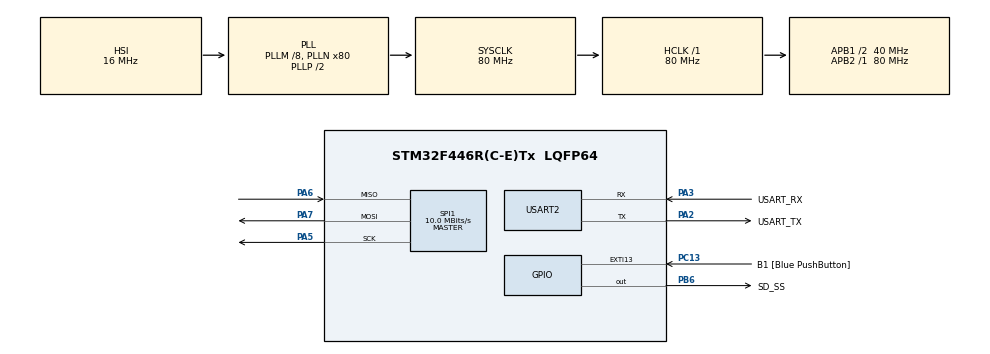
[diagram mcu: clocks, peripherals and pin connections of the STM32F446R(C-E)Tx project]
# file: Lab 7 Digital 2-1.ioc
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FATFS._MAX_SS=4096
FATFS._USE_LFN=1
Mcu.Family=STM32F4
Mcu.Name=STM32F446R(C-E)Tx
Mcu.Package=LQFP64
NVIC.PriorityGroup=NVIC_PRIORITYGROUP_0
NVIC.USART2_IRQn=true\:0\:0\:false\:false\:true\:true\:true\:true
PA13.GPIO_Label=TMS
PA13.Mode=Serial_Wire
PA13.Signal=SYS_JTMS-SWDIO
PA14.GPIO_Label=TCK
PA14.Mode=Serial_Wire
PA14.Signal=SYS_JTCK-SWCLK
PA2.GPIO_Label=USART_TX
PA2.Mode=Asynchronous
PA2.Signal=USART2_TX
PA3.GPIO_Label=USART_RX
PA3.Mode=Asynchronous
PA3.Signal=USART2_RX
PA5.Mode=Full_Duplex_Master
PA5.Signal=SPI1_SCK
PA6.Mode=Full_Duplex_Master
PA6.Signal=SPI1_MISO
PA7.Mode=Full_Duplex_Master
PA7.Signal=SPI1_MOSI
PB3.GPIO_Label=SWO
PB3.Signal=SYS_JTDO-SWO
PB6.GPIO_Label=SD_SS
PB6.GPIO_Speed=GPIO_SPEED_FREQ_MEDIUM
PB6.PinState=GPIO_PIN_SET
PB6.Signal=GPIO_Output
PC13.GPIO_Label=B1 [Blue PushButton]
PC13.GPIO_ModeDefaultEXTI=GPIO_MODE_IT_FALLING
PC13.Signal=GPXTI13
PC14-OSC32_IN.Mode=LSE-External-Oscillator
PC14-OSC32_IN.Signal=RCC_OSC32_IN
PC15-OSC32_OUT.Mode=LSE-External-Oscillator
PC15-OSC32_OUT.Signal=RCC_OSC32_OUT
PH0-OSC_IN.Mode=HSE-External-Oscillator
PH0-OSC_IN.Signal=RCC_OSC_IN
PH1-OSC_OUT.Mode=HSE-External-Oscillator
PH1-OSC_OUT.Signal=RCC_OSC_OUT
ProjectManager.HeapSize=0x200
ProjectManager.StackSize=0x400
ProjectManager.TargetToolchain=STM32CubeIDE
RCC.48MHZClocksFreq_Value=84000000
RCC.AHBFreq_Value=80000000
RCC.APB1CLKDivider=RCC_HCLK_DIV2
RCC.APB1Freq_Value=40000000
RCC.APB1TimFreq_Value=80000000
RCC.APB2Freq_Value=80000000
RCC.APB2TimFreq_Value=80000000
RCC.CortexFreq_Value=80000000
RCC.FLatency-AdvancedSettings=FLASH_LATENCY_2
RCC.HCLKFreq_Value=80000000
RCC.HSE_VALUE=8000000
RCC.HSI_VALUE=16000000
RCC.PLLM=8
RCC.PLLN=80
RCC.SYSCLKFreq_VALUE=80000000
RCC.SYSCLKSource=RCC_SYSCLKSOURCE_PLLCLK
RCC.USBFreq_Value=80000000
RCC.VCOOutputFreq_Value=160000000
SPI1.BaudRatePrescaler=SPI_BAUDRATEPRESCALER_8
SPI1.CalculateBaudRate=10.0 MBits/s
SPI1.Direction=SPI_DIRECTION_2LINES
SPI1.Mode=SPI_MODE_MASTER
SPI1.VirtualType=VM_MASTER
USART2.VirtualMode=VM_ASYNC
VP_FATFS_VS_Generic.Mode=User_defined
board=NUCLEO-F446RE

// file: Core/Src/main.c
/* USER CODE BEGIN Header */
/**
  ******************************************************************************
  * @file           : main.c
  * @brief          : Main program body
  ******************************************************************************
  * @attention
  * Copyright (c) 2025 STMicroelectronics.
  * All rights reserved.
  * This software is licensed under terms that can be found in the LICENSE file
  * in the root directory of this software component.
  * If no LICENSE file comes with this software, it is provided AS-IS.
  ******************************************************************************
  */
/* USER CODE END Header */
#include "main.h"
#include "fatfs.h"

/* USER CODE BEGIN Includes */
#include "fatfs_sd.h"
#include <string.h>
#include <stdint.h>
#include <stdio.h>
/* USER CODE END Includes */

/* USER CODE BEGIN PD */
FATFS fs;
FATFS *pfs;
FIL fil;
FRESULT fres;
DWORD fre_clust;
uint32_t totalSpace, freeSpace;

char     buffer[100];     // lectura de líneas desde archivo
uint8_t  bufferUART[1];   // 1 byte recibido por UART

// ¡OJO con mayúsculas/minúsculas! (tu tercer archivo es "dibujo3b.txt")
const char* images[3] = { "dibujo1B.txt", "dibujo2B.txt", "dibujo3b.txt" };
uint8_t state = 0;
/* USER CODE END PD */

SPI_HandleTypeDef hspi1;
UART_HandleTypeDef huart2;

void SystemClock_Config(void);
static void MX_GPIO_Init(void);
static void MX_USART2_UART_Init(void);
static void MX_SPI1_Init(void);
/* USER CODE BEGIN PFP */
static void menu(void);
static void showIm(const char *image);
static const char* fresult_str(FRESULT r);
/* USER CODE END PFP */

int main(void)
{
  HAL_Init();
  SystemClock_Config();

  MX_GPIO_Init();
  MX_USART2_UART_Init();
  MX_SPI1_Init();
  MX_FATFS_Init();

  HAL_Delay(500);

  // RX por interrupción (1 byte)
  HAL_UART_Receive_IT(&huart2, bufferUART, 1);

  // Menú inicial
  menu();

  // Monta primero en 0:, y si falla intenta 1:
  fres = f_mount(&fs, "0:", 0);
  if (fres == FR_OK) {
    HAL_UART_Transmit(&huart2, (uint8_t*)"Micro SD card is mounted (0:)\r\n", strlen("Micro SD card is mounted (0:)\r\n"), 200);
  } else {
    char msg[64];
    snprintf(msg, sizeof(msg), "Mount 0: error: %s\r\n", fresult_str(fres));
    HAL_UART_Transmit(&huart2, (uint8_t*)msg, strlen(msg), 200);

    fres = f_mount(&fs, "1:", 0);
    if (fres == FR_OK) {
      HAL_UART_Transmit(&huart2, (uint8_t*)"Micro SD card is mounted (1:)\r\n", strlen("Micro SD card is mounted (1:)\r\n"), 200);
    } else {
      snprintf(msg, sizeof(msg), "Mount 1: error: %s\r\n", fresult_str(fres));
      HAL_UART_Transmit(&huart2, (uint8_t*)msg, strlen(msg), 200);
    }
  }

  while (1)
  {
    if (state == 1) {
      state = 0;
      showIm(images[0]);
    } else if (state == 2) {
      state = 0;
      showIm(images[1]);
    } else if (state == 3) {
      state = 0;
      showIm(images[2]);
    } else if (state == 255) {
      state = 0;
      fres = f_mount(NULL, "", 1); // desmonta cualquier unidad activa
      if (fres == FR_OK)
        HAL_UART_Transmit(&huart2, (uint8_t*)"File unmounted\r\n", strlen("File unmounted\r\n"), 200);
      else {
        char msg[64];
        snprintf(msg, sizeof(msg), "Unmount error: %s\r\n", fresult_str(fres));
        HAL_UART_Transmit(&huart2, (uint8_t*)msg, strlen(msg), 200);
      }
    } else {
      state = 0;
    }
    HAL_Delay(1);
  }
}

/* ----------------- Clock ----------------- */
void SystemClock_Config(void)
{
  RCC_OscInitTypeDef RCC_OscInitStruct = {0};
  RCC_ClkInitTypeDef RCC_ClkInitStruct = {0};

  __HAL_RCC_PWR_CLK_ENABLE();
  __HAL_PWR_VOLTAGESCALING_CONFIG(PWR_REGULATOR_VOLTAGE_SCALE3);

  RCC_OscInitStruct.OscillatorType = RCC_OSCILLATORTYPE_HSI;
  RCC_OscInitStruct.HSIState = RCC_HSI_ON;
  RCC_OscInitStruct.HSICalibrationValue = RCC_HSICALIBRATION_DEFAULT;
  RCC_OscInitStruct.PLL.PLLState = RCC_PLL_ON;
  RCC_OscInitStruct.PLL.PLLSource = RCC_PLLSOURCE_HSI;
  RCC_OscInitStruct.PLL.PLLM = 8;
  RCC_OscInitStruct.PLL.PLLN = 80;
  RCC_OscInitStruct.PLL.PLLP = RCC_PLLP_DIV2;
  RCC_OscInitStruct.PLL.PLLQ = 2;
  RCC_OscInitStruct.PLL.PLLR = 2;
  if (HAL_RCC_OscConfig(&RCC_OscInitStruct) != HAL_OK) { Error_Handler(); }

  RCC_ClkInitStruct.ClockType = RCC_CLOCKTYPE_HCLK|RCC_CLOCKTYPE_SYSCLK
                              |RCC_CLOCKTYPE_PCLK1|RCC_CLOCKTYPE_PCLK2;
  RCC_ClkInitStruct.SYSCLKSource = RCC_SYSCLKSOURCE_PLLCLK;
  RCC_ClkInitStruct.AHBCLKDivider = RCC_SYSCLK_DIV1;
  RCC_ClkInitStruct.APB1CLKDivider = RCC_HCLK_DIV2;
  RCC_ClkInitStruct.APB2CLKDivider = RCC_HCLK_DIV1;

  if (HAL_RCC_ClockConfig(&RCC_ClkInitStruct, FLASH_LATENCY_2) != HAL_OK) { Error_Handler(); }
}

/* ----------------- SPI ----------------- */
static void MX_SPI1_Init(void)
{
  hspi1.Instance = SPI1;
  hspi1.Init.Mode = SPI_MODE_MASTER;
  hspi1.Init.Direction = SPI_DIRECTION_2LINES;
  hspi1.Init.DataSize = SPI_DATASIZE_8BIT;
  hspi1.Init.CLKPolarity = SPI_POLARITY_LOW;
  hspi1.Init.CLKPhase = SPI_PHASE_1EDGE;
  hspi1.Init.NSS = SPI_NSS_SOFT;
  hspi1.Init.BaudRatePrescaler = SPI_BAUDRATEPRESCALER_8;
  hspi1.Init.FirstBit = SPI_FIRSTBIT_MSB;
  hspi1.Init.TIMode = SPI_TIMODE_DISABLE;
  hspi1.Init.CRCCalculation = SPI_CRCCALCULATION_DISABLE;
  hspi1.Init.CRCPolynomial = 10;
  if (HAL_SPI_Init(&hspi1) != HAL_OK) { Error_Handler(); }
}

/* ----------------- UART ----------------- */
static void MX_USART2_UART_Init(void)
{
  huart2.Instance = USART2;
  huart2.Init.BaudRate = 115200;
  huart2.Init.WordLength = UART_WORDLENGTH_8B;
  huart2.Init.StopBits = UART_STOPBITS_1;
  huart2.Init.Parity = UART_PARITY_NONE;
  huart2.Init.Mode = UART_MODE_TX_RX;
  huart2.Init.HwFlowCtl = UART_HWCONTROL_NONE;
  huart2.Init.OverSampling = UART_OVERSAMPLING_16;
  if (HAL_UART_Init(&huart2) != HAL_OK) { Error_Handler(); }
}

/* ----------------- GPIO ----------------- */
static void MX_GPIO_Init(void)
{
  GPIO_InitTypeDef GPIO_InitStruct = {0};

  __HAL_RCC_GPIOC_CLK_ENABLE();
  __HAL_RCC_GPIOH_CLK_ENABLE();
  __HAL_RCC_GPIOA_CLK_ENABLE();
  __HAL_RCC_GPIOB_CLK_ENABLE();

  HAL_GPIO_WritePin(SD_SS_GPIO_Port, SD_SS_Pin, GPIO_PIN_SET);

  // Botón de usuario (si aplica)
  GPIO_InitStruct.Pin = B1_Pin;
  GPIO_InitStruct.Mode = GPIO_MODE_IT_FALLING;
  GPIO_InitStruct.Pull = GPIO_NOPULL;
  HAL_GPIO_Init(B1_GPIO_Port, &GPIO_InitStruct);

  // Chip Select de la SD
  GPIO_InitStruct.Pin = SD_SS_Pin;
  GPIO_InitStruct.Mode = GPIO_MODE_OUTPUT_PP;
  GPIO_InitStruct.Pull = GPIO_NOPULL;
  GPIO_InitStruct.Speed = GPIO_SPEED_FREQ_MEDIUM;
  HAL_GPIO_Init(SD_SS_GPIO_Port, &GPIO_InitStruct);
}

/* ===================== USER CODE ===================== */

static void menu(void)
{
  HAL_UART_Transmit(&huart2, (uint8_t*)"\r\n****Menu****\r\n", strlen("\r\n****Menu****\r\n"), 200);
  HAL_UART_Transmit(&huart2, (uint8_t*)"1. Abrir el archivo Dibujo1\r\n", strlen("1. Abrir el archivo Dibujo1\r\n"), 200);
  HAL_UART_Transmit(&huart2, (uint8_t*)"2. Abrir el archivo Dibujo2\r\n", strlen("2. Abrir el archivo Dibujo2\r\n"), 200);
  HAL_UART_Transmit(&huart2, (uint8_t*)"3. Abrir el archivo Dibujo3\r\n", strlen("3. Abrir el archivo Dibujo3\r\n"), 200);
  HAL_UART_Transmit(&huart2, (uint8_t*)"0. Salir y desmontar\r\n",        strlen("0. Salir y desmontar\r\n"),        200);
}

void HAL_UART_TxCpltCallback(UART_HandleTypeDef *huart)
{
  (void)huart;
}

void HAL_UART_RxCpltCallback(UART_HandleTypeDef *huart)
{
  if (huart->Instance == USART2)
  {
    uint8_t c = bufferUART[0];

    // Ignora CR/LF que envía el Enter del monitor serie
    if (c == '\r' || c == '\n') {
      HAL_UART_Receive_IT(&huart2, bufferUART, 1);
      return;
    }

    // Eco del carácter válido
    HAL_UART_Transmit(&huart2, &c, 1, 200);
    HAL_UART_Transmit(&huart2, (uint8_t*)" <-- Recibido\r\n", strlen(" <-- Recibido\r\n"), 200);

    // Decodificación
    if      (c == '1' && state == 0) state = 1;
    else if (c == '2' && state == 0) state = 2;
    else if (c == '3' && state == 0) state = 3;
    else if (c == '0' && state == 0) state = 255;
    else HAL_UART_Transmit(&huart2, (uint8_t*)"No hay archivo :(\r\n", strlen("No hay archivo :(\r\n"), 250);

    // Reinicia la recepción
    HAL_UART_Receive_IT(&huart2, bufferUART, 1);
  }
}

/* Intenta abrir con 0:/, luego 1:/ y por último sin prefijo.
   Reporta el código y nombre del error (FRESULT). */
static void showIm(const char *image)
{
  char path[40];
  char msg[96];

  // 1) 0:/archivo
  snprintf(path, sizeof(path), "0:/%s", image);
  fres = f_open(&fil, (TCHAR*)path, FA_READ);
  if (fres != FR_OK) {
    snprintf(msg, sizeof(msg), "Open 0: %s -> %s\r\n", image, fresult_str(fres));
    HAL_UART_Transmit(&huart2, (uint8_t*)msg, strlen(msg), 200);

    // 2) 1:/archivo
    snprintf(path, sizeof(path), "1:/%s", image);
    fres = f_open(&fil, (TCHAR*)path, FA_READ);
    if (fres != FR_OK) {
      snprintf(msg, sizeof(msg), "Open 1: %s -> %s\r\n", image, fresult_str(fres));
      HAL_UART_Transmit(&huart2, (uint8_t*)msg, strlen(msg), 200);

      // 3) archivo sin prefijo
      fres = f_open(&fil, (TCHAR*)image, FA_READ);
      if (fres != FR_OK) {
        snprintf(msg, sizeof(msg), "Open no prefix: %s -> %s\r\n", image, fresult_str(fres));
        HAL_UART_Transmit(&huart2, (uint8_t*)msg, strlen(msg), 200);
        menu();
        return;
      }
    }
  }

  HAL_UART_Transmit(&huart2, (uint8_t*)"File opened for reading\r\n", strlen("File opened for reading\r\n"), 200);

  while (f_gets(buffer, sizeof(buffer), &fil))
  {
    HAL_UART_Transmit(&huart2, (uint8_t*)buffer, strlen(buffer), 200);
  }

  fres = f_close(&fil);
  if (fres == FR_OK)
    HAL_UART_Transmit(&huart2, (uint8_t*)"File closed\r\n", strlen("File closed\r\n"), 200);
  else {
    snprintf(msg, sizeof(msg), "Close error: %s\r\n", fresult_str(fres));
    HAL_UART_Transmit(&huart2, (uint8_t*)msg, strlen(msg), 200);
  }

  menu();
}

/* Traducción de FRESULT a texto para depurar en terminal */
static const char* fresult_str(FRESULT r)
{
  switch (r) {
    case FR_OK:                   return "FR_OK";
    case FR_DISK_ERR:             return "FR_DISK_ERR";
    case FR_INT_ERR:              return "FR_INT_ERR";
    case FR_NOT_READY:            return "FR_NOT_READY";
    case FR_NO_FILE:              return "FR_NO_FILE";
    case FR_NO_PATH:              return "FR_NO_PATH";
    case FR_INVALID_NAME:         return "FR_INVALID_NAME";
    case FR_DENIED:               return "FR_DENIED";
    case FR_EXIST:                return "FR_EXIST";
    case FR_INVALID_OBJECT:       return "FR_INVALID_OBJECT";
    case FR_WRITE_PROTECTED:      return "FR_WRITE_PROTECTED";
    case FR_INVALID_DRIVE:        return "FR_INVALID_DRIVE";
    case FR_NOT_ENABLED:          return "FR_NOT_ENABLED";
    case FR_NO_FILESYSTEM:        return "FR_NO_FILESYSTEM";
    case FR_MKFS_ABORTED:         return "FR_MKFS_ABORTED";
    case FR_TIMEOUT:              return "FR_TIMEOUT";
    case FR_LOCKED:               return "FR_LOCKED";
    case FR_NOT_ENOUGH_CORE:      return "FR_NOT_ENOUGH_CORE";
    case FR_TOO_MANY_OPEN_FILES:  return "FR_TOO_MANY_OPEN_FILES";
    case FR_INVALID_PARAMETER:    return "FR_INVALID_PARAMETER";
    default:                      return "FR_Unknown";
  }
}

/* ===================================================== */
void Error_Handler(void)
{
  __disable_irq();
  while (1) { }
}
